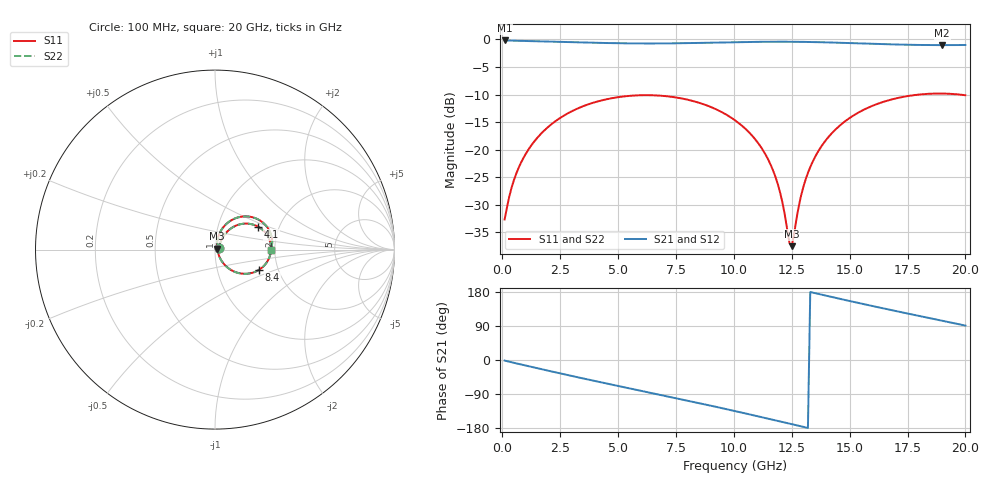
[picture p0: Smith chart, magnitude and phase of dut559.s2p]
! Touchstone file exported from HFSS 2026.1.0
!  File:  C:/ffzhzh/LocalFiles/Ansys_Project_Files/temp_train_TSV_RDL_559_1783116045_53076.aedt
!  Generated:  06:12:36 AM Jul  4, 2026
!  Design:  TSV_RDL
!  Project:  temp_train_TSV_RDL_559_1783116045_53076
! Variables:
!  h_bsmrdl = 3.9um
!  h_ox = 20um
!  h_rdl = 5um
!  h_sub = 95.87um
!  h_tmrdl = 2.45um
!  h_tsv = 95.87um
!  h_via = 3um
!  l_bsmrdl = 136.12um
!  l_sub = 4234.03um
!  l_tmrdl = 825.78um
!  m_sub = 200um
!  pitch = 44.48um
!  r_tsv = 13.83um
!  s_tmrdl = 10um
!  w_bsmrdl = 11.66um
!  w_sub = 500um
!  w_tmrdl = 29.19um
!  x_tsv_center1 = 840.375um
!  x_tsv_center2 = 988.155um
!  x_tsv_center3 = 1843.125um
!  x_tsv_center4 = 1990.905um
!  x_tsv_center5 = 2845.875um
!  x_tsv_center6 = 2993.655um
# GHz S MA R 50.000000
! Terminal data exported
! Port[1] = TM_RDL1_1_T1
! Port[2] = TM_RDL5_1_T1
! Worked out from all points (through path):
!   200 points, 100 MHz to 20 GHz, reference 50 ohm
!   highest |S21| = -0.18 dB at 100 MHz (marker M1); lowest = -1.0 dB at 19 GHz (marker M2)
!   group delay of S21, straight-line fit = 37.5 ps
!   lowest |S11| = -37.5 dB at 12.5 GHz (marker M3), VSWR 1.03, Z = 51.3 + j0.444 ohm
!   |S11| at or under -10 dB: start of sweep to 18 GHz; 19.75 GHz to end of sweep
!   |S22| runs from -37.7 to -9.8 dB; largest |S21 - S12| = 3.1e-14
!   S11 on the Smith chart (normalised r, x): 100 MHz: 1.04, +0.02; 4.1 GHz: 1.57, +0.43; 8.4 GHz: 1.59, -0.39; 20 GHz: 1.91, -0.01
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0.1  0.02327 25.0  0.9791 -1.5  0.9791 -1.5  0.02327 25.0
! Gamma 0 0 0 0
! Port Impedance 50 0 50 0
0.5  0.0528 54.1  0.9737 -7.4  0.9737 -7.4  0.0528 54.1
1.2  0.1055 57.0  0.9661 -17.3  0.9661 -17.3  0.1055 57.0
2.2  0.1753 49.2  0.9548 -31.2  0.9548 -31.2  0.1753 49.2
3.5  0.2482 34.7  0.9387 -48.8  0.9387 -48.8  0.2482 34.7
4.1  0.2732 27.6  0.9319 -56.7  0.9319 -56.7  0.2732 27.6
5.4  0.3065 12.0  0.9217 -73.6  0.9217 -73.6  0.3065 12.0
6.8  0.3093 -4.9  0.92 -91.6  0.92 -91.6  0.3093 -5.0
8.4  0.2702 -24.6  0.9293 -112.5  0.9293 -112.5  0.2702 -24.6
10.1  0.1816 -45.5  0.9452 -135.5  0.9452 -135.5  0.1816 -45.6
11  0.1184 -55.5  0.9516 -148.0  0.9516 -148.0  0.1184 -55.6
11.6  0.07217 -59.6  0.9538 -156.5  0.9538 -156.5  0.07214 -59.9
12  0.04072 -56.9  0.9541 -162.2  0.9541 -162.2  0.04064 -57.4
12.4  0.01422 -14.4  0.9534 -167.9  0.9534 -167.9  0.01391 -15.1
12.5  0.01332 19.0  0.9531 -169.3  0.9531 -169.3  0.01298 19.1
12.9  0.03798 71.9  0.9511 -175.0  0.9511 -175.0  0.03784 72.3
13.4  0.07742 75.4  0.9472 177.9  0.9472 177.9  0.07733 75.6
14  0.1238 70.8  0.9408 169.5  0.9408 169.5  0.1237 71.0
14.7  0.174 63.2  0.9316 159.8  0.9316 159.8  0.1739 63.3
16.7  0.2813 39.1  0.9035 133.0  0.9035 133.0  0.2812 39.1
19  0.323 11.5  0.8883 103.6  0.8883 103.6  0.323 11.5
20  0.3118 -0.4  0.8908 90.8  0.8908 90.8  0.3118 -0.4
